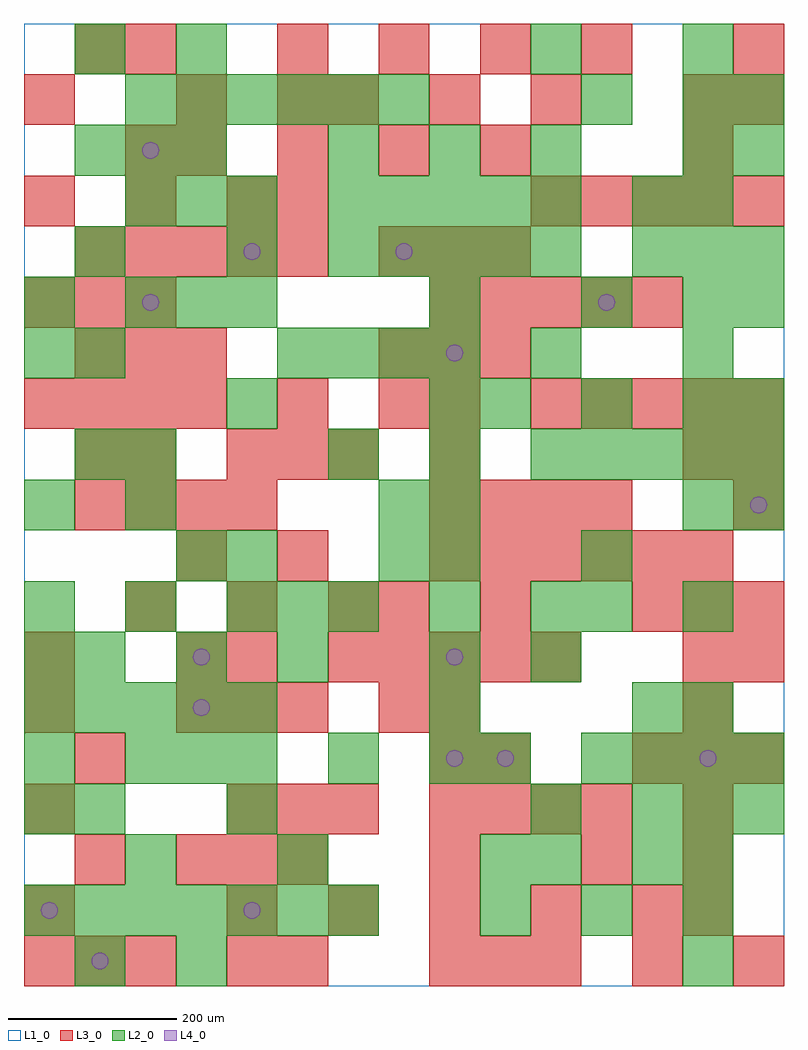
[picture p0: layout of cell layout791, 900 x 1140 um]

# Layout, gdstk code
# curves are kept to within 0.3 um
import gdstk
lib = gdstk.Library(unit=1e-6, precision=1e-09)
def R(c, l, rs):  # rectangles x0, y0, x1, y1
    for r in rs: c.add(gdstk.rectangle(r[:2], r[2:], *l))
def A(c, l, x, y, w, h, nx, ny, dx, dy):  # array of equal rectangles
    R(c, l, [(x+i*dx, y+j*dy, x+i*dx+w, y+j*dy+h) for i in range(nx) for j in range(ny)])
def P(c, l, *ps):  # polygons
    for p in ps: c.add(gdstk.Polygon(p, *l))
L1_0 = (1, 0)
L2_0 = (2, 0)
L3_0 = (3, 0)
L4_0 = (4, 0)

layout791 = lib.new_cell('layout791')
R(layout791, L1_0, [(0,0,900,1140)])
A(layout791, L2_0, 0, 60, 60, 60, 7, 1, 60, 0)
A(layout791, L2_0, 540, 60, 60, 60, 3, 2, 120, 600)
A(layout791, L2_0, 720, 180, 60, 60, 3, 2, 60, 660)
A(layout791, L2_0, 120, 240, 60, 60, 3, 2, 60, 540)
A(layout791, L2_0, 480, 240, 60, 60, 1, 3, 0, 60)
A(layout791, L2_0, 660, 240, 60, 60, 4, 2, 60, 360)
A(layout791, L2_0, 0, 300, 60, 60, 5, 1, 60, 0)
A(layout791, L2_0, 780, 300, 60, 60, 1, 3, 0, 120)
A(layout791, L2_0, 0, 360, 60, 60, 1, 3, 0, 180)
A(layout791, L2_0, 60, 360, 60, 60, 3, 1, 120, 0)
A(layout791, L2_0, 600, 360, 60, 60, 1, 3, 0, 360)
A(layout791, L2_0, 0, 420, 60, 60, 3, 1, 120, 0)
A(layout791, L2_0, 360, 420, 60, 60, 3, 2, 120, 180)
A(layout791, L2_0, 240, 480, 60, 60, 1, 3, 0, 180)
A(layout791, L2_0, 480, 540, 60, 60, 1, 3, 0, 120)
A(layout791, L2_0, 840, 540, 60, 60, 1, 3, 0, 120)
A(layout791, L2_0, 60, 600, 60, 60, 1, 3, 0, 120)
A(layout791, L2_0, 300, 720, 60, 60, 4, 1, 60, 0)
A(layout791, L2_0, 360, 840, 60, 60, 5, 2, 60, 60)
A(layout791, L2_0, 120, 900, 60, 60, 3, 1, 60, 0)
A(layout791, L2_0, 780, 900, 60, 60, 1, 4, 0, 60)
A(layout791, L2_0, 60, 960, 60, 60, 3, 1, 60, 0)
A(layout791, L2_0, 360, 960, 60, 60, 3, 1, 120, 0)
A(layout791, L2_0, 120, 1020, 60, 60, 6, 1, 60, 0)
R(layout791, L2_0, [(60,0,120,60), (180,0,240,60), (780,0,840,60), (120,120,180,180), (300,120,360,180), (540,120,600,180), (600,120,660,180), (720,120,780,180), (780,120,840,180), (0,180,60,240), (60,180,120,240), (240,180,300,240), (600,180,660,240), (0,240,60,300), (360,240,420,300), (540,240,600,300), (720,300,780,360), (300,420,360,480), (660,420,720,480), (180,480,240,540), (420,480,480,540), (480,480,540,540), (660,480,720,540), (120,540,180,600), (420,540,480,600), (120,600,180,660), (780,720,840,780), (0,780,60,840), (660,780,720,840), (780,780,840,840), (720,900,780,960), (840,960,900,1020), (660,1020,720,1080), (840,1020,900,1080), (60,1080,120,1140), (180,1080,240,1140)])
A(layout791, L3_0, 0, 0, 60, 60, 3, 2, 60, 780)
A(layout791, L3_0, 480, 0, 60, 60, 3, 1, 60, 0)
A(layout791, L3_0, 0, 60, 60, 60, 1, 3, 0, 120)
A(layout791, L3_0, 240, 60, 60, 60, 5, 1, 120, 0)
A(layout791, L3_0, 780, 60, 60, 60, 1, 3, 0, 60)
A(layout791, L3_0, 180, 120, 60, 60, 3, 2, 60, 180)
A(layout791, L3_0, 240, 180, 60, 60, 3, 2, 60, 420)
A(layout791, L3_0, 480, 180, 60, 60, 4, 2, 60, 360)
A(layout791, L3_0, 720, 240, 60, 60, 3, 2, 60, 180)
A(layout791, L3_0, 360, 360, 60, 60, 5, 1, 60, 0)
A(layout791, L3_0, 120, 420, 60, 60, 3, 1, 120, 0)
A(layout791, L3_0, 480, 480, 60, 60, 6, 1, 60, 0)
A(layout791, L3_0, 60, 540, 60, 60, 4, 1, 60, 0)
A(layout791, L3_0, 0, 660, 60, 60, 4, 1, 60, 0)
A(layout791, L3_0, 600, 660, 60, 60, 5, 2, 60, 240)
A(layout791, L3_0, 60, 720, 60, 60, 3, 1, 60, 0)
A(layout791, L3_0, 420, 720, 60, 60, 3, 2, 60, 120)
A(layout791, L3_0, 480, 780, 60, 60, 5, 1, 60, 0)
A(layout791, L3_0, 60, 840, 60, 60, 5, 1, 60, 0)
A(layout791, L3_0, 0, 900, 60, 60, 3, 1, 120, 0)
A(layout791, L3_0, 180, 960, 60, 60, 4, 1, 120, 0)
A(layout791, L3_0, 360, 1020, 60, 60, 3, 1, 120, 0)
A(layout791, L3_0, 300, 1080, 60, 60, 4, 1, 120, 0)
R(layout791, L3_0, [(240,0,300,60), (300,0,360,60), (720,0,780,60), (840,0,900,60), (60,120,120,180), (480,120,540,180), (660,120,720,180), (60,240,120,300), (480,240,540,300), (540,240,600,300), (420,300,480,360), (480,300,540,360), (780,300,840,360), (0,360,60,420), (180,360,240,420), (240,360,300,420), (780,360,840,420), (840,360,900,420), (420,420,480,480), (540,420,600,480), (180,480,240,540), (300,480,360,540), (840,540,900,600), (60,600,120,660), (120,600,180,660), (480,600,540,660), (780,600,840,660), (840,600,900,660), (300,660,360,720), (420,660,480,720), (480,660,540,720), (300,900,360,960), (120,960,180,1020), (780,960,840,1020), (0,1020,60,1080), (180,1020,240,1080), (300,1020,360,1080), (780,1020,840,1080), (840,1020,900,1080), (60,1080,120,1140), (120,1080,180,1140), (840,1080,900,1140)])
P(layout791, L4_0, [(40,90),(39.239,93.827),(37.071,97.071),(33.827,99.239),(30,100),(26.173,99.239),(22.929,97.071),(20.761,93.827),(20,90),(20.761,86.173),(22.929,82.929),(26.173,80.761),(30,80),(33.827,80.761),(37.071,82.929),(39.239,86.173)],
  [(100,30),(99.239,33.827),(97.071,37.071),(93.827,39.239),(90,40),(86.173,39.239),(82.929,37.071),(80.761,33.827),(80,30),(80.761,26.173),(82.929,22.929),(86.173,20.761),(90,20),(93.827,20.761),(97.071,22.929),(99.239,26.173)],
  [(160,810),(159.239,813.827),(157.071,817.071),(153.827,819.239),(150,820),(146.173,819.239),(142.929,817.071),(140.761,813.827),(140,810),(140.761,806.173),(142.929,802.929),(146.173,800.761),(150,800),(153.827,800.761),(157.071,802.929),(159.239,806.173)],
  [(160,990),(159.239,993.827),(157.071,997.071),(153.827,999.239),(150,1000),(146.173,999.239),(142.929,997.071),(140.761,993.827),(140,990),(140.761,986.173),(142.929,982.929),(146.173,980.761),(150,980),(153.827,980.761),(157.071,982.929),(159.239,986.173)],
  [(220,330),(219.239,333.827),(217.071,337.071),(213.827,339.239),(210,340),(206.173,339.239),(202.929,337.071),(200.761,333.827),(200,330),(200.761,326.173),(202.929,322.929),(206.173,320.761),(210,320),(213.827,320.761),(217.071,322.929),(219.239,326.173)],
  [(220,390),(219.239,393.827),(217.071,397.071),(213.827,399.239),(210,400),(206.173,399.239),(202.929,397.071),(200.761,393.827),(200,390),(200.761,386.173),(202.929,382.929),(206.173,380.761),(210,380),(213.827,380.761),(217.071,382.929),(219.239,386.173)],
  [(280,90),(279.239,93.827),(277.071,97.071),(273.827,99.239),(270,100),(266.173,99.239),(262.929,97.071),(260.761,93.827),(260,90),(260.761,86.173),(262.929,82.929),(266.173,80.761),(270,80),(273.827,80.761),(277.071,82.929),(279.239,86.173)],
  [(280,870),(279.239,873.827),(277.071,877.071),(273.827,879.239),(270,880),(266.173,879.239),(262.929,877.071),(260.761,873.827),(260,870),(260.761,866.173),(262.929,862.929),(266.173,860.761),(270,860),(273.827,860.761),(277.071,862.929),(279.239,866.173)],
  [(460,870),(459.239,873.827),(457.071,877.071),(453.827,879.239),(450,880),(446.173,879.239),(442.929,877.071),(440.761,873.827),(440,870),(440.761,866.173),(442.929,862.929),(446.173,860.761),(450,860),(453.827,860.761),(457.071,862.929),(459.239,866.173)],
  [(520,270),(519.239,273.827),(517.071,277.071),(513.827,279.239),(510,280),(506.173,279.239),(502.929,277.071),(500.761,273.827),(500,270),(500.761,266.173),(502.929,262.929),(506.173,260.761),(510,260),(513.827,260.761),(517.071,262.929),(519.239,266.173)],
  [(520,390),(519.239,393.827),(517.071,397.071),(513.827,399.239),(510,400),(506.173,399.239),(502.929,397.071),(500.761,393.827),(500,390),(500.761,386.173),(502.929,382.929),(506.173,380.761),(510,380),(513.827,380.761),(517.071,382.929),(519.239,386.173)],
  [(520,750),(519.239,753.827),(517.071,757.071),(513.827,759.239),(510,760),(506.173,759.239),(502.929,757.071),(500.761,753.827),(500,750),(500.761,746.173),(502.929,742.929),(506.173,740.761),(510,740),(513.827,740.761),(517.071,742.929),(519.239,746.173)],
  [(580,270),(579.239,273.827),(577.071,277.071),(573.827,279.239),(570,280),(566.173,279.239),(562.929,277.071),(560.761,273.827),(560,270),(560.761,266.173),(562.929,262.929),(566.173,260.761),(570,260),(573.827,260.761),(577.071,262.929),(579.239,266.173)],
  [(700,810),(699.239,813.827),(697.071,817.071),(693.827,819.239),(690,820),(686.173,819.239),(682.929,817.071),(680.761,813.827),(680,810),(680.761,806.173),(682.929,802.929),(686.173,800.761),(690,800),(693.827,800.761),(697.071,802.929),(699.239,806.173)],
  [(820,270),(819.239,273.827),(817.071,277.071),(813.827,279.239),(810,280),(806.173,279.239),(802.929,277.071),(800.761,273.827),(800,270),(800.761,266.173),(802.929,262.929),(806.173,260.761),(810,260),(813.827,260.761),(817.071,262.929),(819.239,266.173)],
  [(880,570),(879.239,573.827),(877.071,577.071),(873.827,579.239),(870,580),(866.173,579.239),(862.929,577.071),(860.761,573.827),(860,570),(860.761,566.173),(862.929,562.929),(866.173,560.761),(870,560),(873.827,560.761),(877.071,562.929),(879.239,566.173)])

lib.write_gds('layout791.gds')
